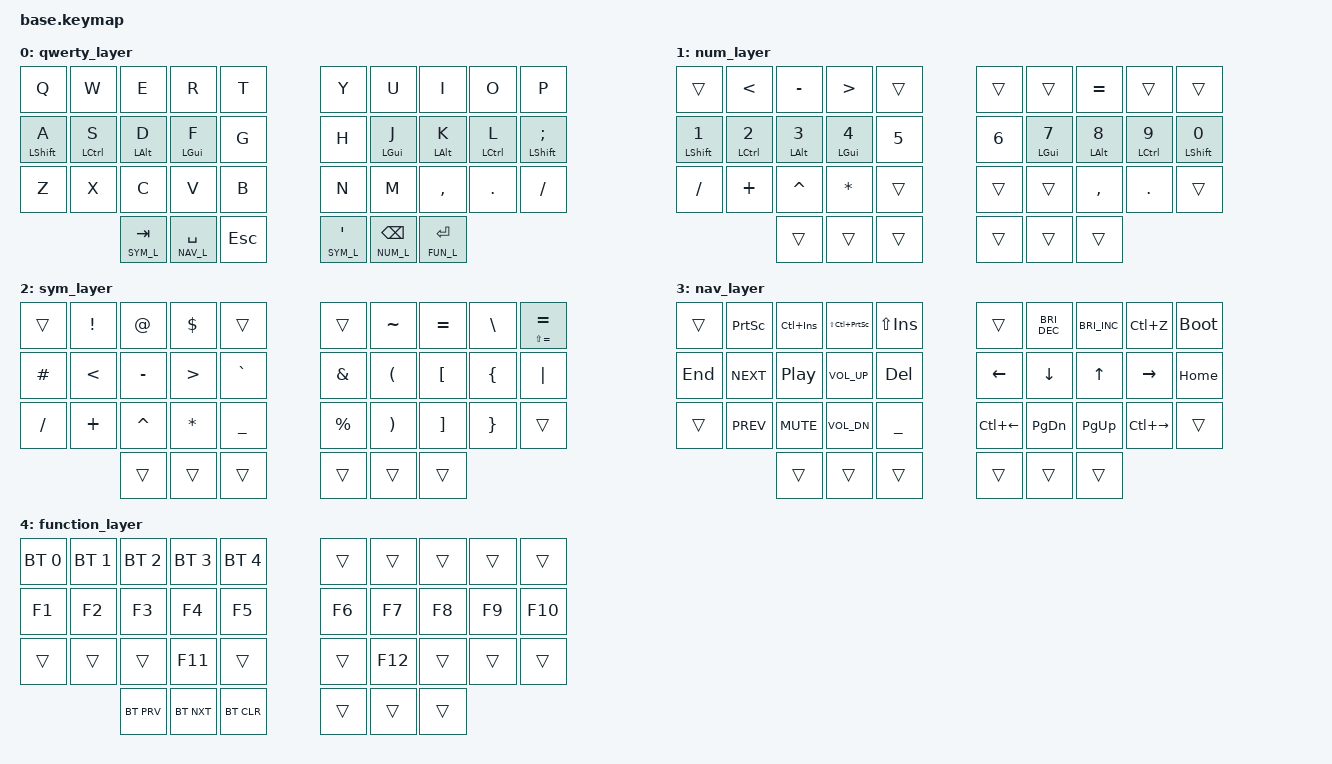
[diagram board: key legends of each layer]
/*
 * Copyright (c) 2021 The ZMK Contributors
 *
 * SPDX-License-Identifier: MIT
 */

#include <behaviors.dtsi>
#include <dt-bindings/zmk/bt.h>
#include <dt-bindings/zmk/keys.h>

&sk {
    release-after-ms = <750>;
    quick-release;
};

&caps_word {
    continue-list = <UNDERSCORE MINUS BSPC>;
    /delete-property/ ignore-modifiers;
};

#define QWERTY_L 0
#define NUM_L    1
#define SYM_L    2
#define NAV_L    3
#define FUN_L    4

#define MY_PSCRN LS(LC(PSCRN))
#define MY_COPY LC(INSERT)
#define MY_PASTE LS(INSERT)
#define VI_U LC(Z)
#define VI_W LC(RIGHT)
#define VI_B LC(LEFT)

/ {
    combos {
        compatible = "zmk,combos";

    // shortcut
    #define COMBO(NAME, BINDINGS, KEYPOS, TIMEOUT) \
          combo_##NAME { \
            timeout-ms = <TIMEOUT>; \
            bindings = <BINDINGS>; \
            key-positions = <KEYPOS>; \
          };

        /*                KEY POSITIONS

          ╭────────────────────╮ ╭────────────────────╮
          │  0   1   2   3   4 │ │  5   6   7   8   9 │
          │ 10  11  12  13  14 │ │ 15  16  17  18  19 │
          │ 20  21  22  23  24 │ │ 25  26  27  28  29 │
          ╰───────╮ 30  31  32 │ │ 33  34  35 ╭───────╯
                  ╰────────────╯ ╰────────────╯        */

        COMBO(caps_word_right, &caps_word, 26 27, 60)
        COMBO(caps_word_left, &caps_word, 22 23, 60)

        COMBO(colon, &kp COLON, 7 8, 60)
        COMBO(semicolon, &kp SEMI, 27 28, 60)
        COMBO(slash, &kp FSLH, 1 2, 60)

        COMBO(minus, &kp MINUS, 31 32, 100)
        COMBO(underscore, &kp UNDER, 33 34, 100)

        COMBO(equal, &kp EQUAL, 12 23, 100)
        COMBO(enter, &kp ENTER, 17 26, 60)

        COMBO(reset_left, &bootloader, 0 1 2 3, 100)
        // COMBO(reset_right, &bootloader, 6 7 8 9, 100)

        // A + BSPC = kontinuálny backspace (obíde hold-tap)
        COMBO(repeat_bspc, &kp BSPC, 10 34, 60)

        // Double Shift pre PyCharm Search Everywhere
        COMBO(dbl_shift_left, &double_shift, 3 4, 60)
        COMBO(dbl_shift_right, &double_shift, 5 6, 60)
    };

    macros {
        double_shift: double_shift {
            compatible = "zmk,behavior-macro";
            label = "DOUBLE_SHIFT";
            #binding-cells = <0>;
            wait-ms = <30>;
            tap-ms = <30>;
            bindings = <&kp LSHFT &kp LSHFT>;
        };
    };

    behaviors {
        lhm: left_hand_positional_hold_tap {
            compatible = "zmk,behavior-hold-tap";
            label = "LEFT_POSITIONAL_HOLD_TAP";
            #binding-cells = <2>;
            flavor = "tap-preferred";
            tapping-term-ms = <200>;
            quick-tap-ms = <125>;
            global-quick-tap;
            bindings = <&kp>, <&kp>;
            // hold-trigger-key-positions = <5 6 7 8 9 15 16 17 18 19 25 26 27 28 29 30 31 32 33 34 35>;
            hold-trigger-key-positions = <5 6 7 8 9 10 11 12 13 15 16 17 18 19 25 26 27 28 29 30 31 32 33 34 35>;
        };

        rhm: right_hand_positional_hold_tap {
            compatible = "zmk,behavior-hold-tap";
            label = "RIGHT_POSITIONAL_HOLD_TAP";
            #binding-cells = <2>;
            flavor = "tap-preferred";
            tapping-term-ms = <200>;
            quick-tap-ms = <125>;
            global-quick-tap;
            bindings = <&kp>, <&kp>;
            // hold-trigger-key-positions = <0 1 2 3 4 10 11 12 13 14 20 21 22 23 24 30 31 32 33 34 35>;
            hold-trigger-key-positions = <0 1 2 3 4 10 11 12 13 14 16 17 18 19 20 21 22 23 24 30 31 32 33 34 35>;
        };

        base_lt: base_layer_hold_tap {
            compatible = "zmk,behavior-hold-tap";
            label = "BASE_LAYER_HOLD_TAP";
            #binding-cells = <2>;
            flavor = "tap-preferred";
            tapping-term-ms = <200>;
            quick-tap-ms = <50>;
            global-quick-tap;
            bindings = <&mo>, <&kp>;
        };

        // Slovak accent: tap = ´ (dĺžeň), hold = ˇ (mäkčeň) - vyžaduje SK layout v OS
        sk_accent: slovak_accent_hold_tap {
            compatible = "zmk,behavior-hold-tap";
            label = "SLOVAK_ACCENT";
            #binding-cells = <2>;
            flavor = "tap-preferred";
            tapping-term-ms = <200>;
            quick-tap-ms = <125>;
            global-quick-tap;
            bindings = <&kp>, <&kp>;
        };

    };

	keymap {
		compatible = "zmk,keymap";

        // QWERTY
        qwerty_layer {
            bindings = <
        /*
          ╭────────────────────────────────────────────╮ ╭────────────────────────────────────────────╮
          │  Q       W       E       R       T         │ │  Y       U       I       O       P         │
          │  A/Sft   S/Ctl   D/Alt   F/Gui   G         │ │  H       J/Gui   K/Alt   L/Ctl   ;/Sft     │
          │  Z       X       C       V       B         │ │  N       M       ,       .       /         │
          ╰─────────────────╮ TAB    SPC     ESC       │ │  '       BSPC    ENT    ╭──────────────────╯
                            ╰─────────────────────────╯ ╰─────────────────────────╯
        */
                   &kp Q        &kp W         &kp E               &kp R              &kp T       &kp Y               &kp U               &kp I                    &kp O         &kp P
                   &lhm LSHFT A &lhm LCTRL S  &lhm LALT D         &lhm LGUI F        &kp G       &kp H               &rhm LGUI J         &rhm LALT K              &rhm LCTRL L  &rhm LSHFT SEMI
                   &kp Z        &kp X         &kp C               &kp V              &kp B       &kp N               &kp M               &kp COMMA                &kp DOT       &kp FSLH
                 /*&            &*/           &base_lt SYM_L TAB  &base_lt NAV_L SPC &kp ESC     &base_lt SYM_L APOS  &base_lt NUM_L BSPC  &base_lt FUN_L RET   /* &             &*/
            >;
        };


        // NUM - Aktivácia: Drž BSPC(pos 34)
		num_layer {
			bindings = <
        /*
          ╭────────────────────────────────────────────╮ ╭────────────────────────────────────────────╮
          │  -       <       -       >       -         │ │  -       -       =       -       -         │
          │  1/Sft   2/Ctl   3/Alt   4/Gui   5         │ │  6       7/Gui   8/Alt   9/Ctl   0/Sft     │
          │  /       +       ^       *       -         │ │  -       -       ,       .       -         │
          ╰─────────────────╮ ---    ---     ---       │ │  ---     ---     ---    ╭──────────────────╯
                            ╰─────────────────────────╯ ╰─────────────────────────╯
        */
                   &trans       &kp LT        &kp MINUS     &kp GT             &trans             &trans              &trans           &kp EQUAL                &trans        &trans
                   &lhm LSHFT N1 &lhm LCTRL N2 &lhm LALT N3 &lhm LGUI N4       &kp N5             &kp N6              &rhm LGUI N7     &rhm LALT N8             &rhm LCTRL N9 &rhm LSHFT N0
                   &kp FSLH     &kp PLUS      &kp CARET     &kp STAR           &trans             &trans              &trans           &kp COMMA                &kp DOT       &trans
				 /*&            &*/           &trans        &trans             &trans             &trans              &trans           &trans    /*             &             &*/
			>;
		};

        // SYM - Aktivácia: Drž TAB (pos 31) alebo " (pos 33)
		sym_layer {
			bindings = <
        /*
          ╭────────────────────────────────────────────╮ ╭────────────────────────────────────────────╮
          │  -       !       @       $       -         │ │  -       ~       =       \       ´/ˇ       │
          │  #       <       -       >       `         │ │  &       (       [       {       |         │
          │  /       +       ^       *       _         │ │  %       )       ]       }       -         │
          ╰─────────────────╮ ---    ---     ---       │ │  ---     ---     ---    ╭──────────────────╯
                            ╰──────────────────-───────╯ ╰─────────────────────────╯
        */
                   &trans       &kp EXCL      &kp AT        &kp DLLR           &trans             &trans              &kp TILDE        &kp EQUAL                &kp BSLH      &sk_accent LS(EQUAL) EQUAL
                   &kp HASH     &kp LT        &kp MINUS     &kp GT             &kp GRAVE          &kp AMPS            &kp LPAR         &kp LBKT                 &kp LBRC      &kp PIPE
                   &kp FSLH     &kp PLUS      &kp CARET     &kp STAR           &kp UNDER          &kp PRCNT           &kp RPAR         &kp RBKT                 &kp RBRC      &trans
				 /*&            &*/           &trans        &trans             &trans             &trans              &trans           &trans    /*             &             &*/
			>;
		};

        // NAV - Aktivácia: Drž SPC (pos 30)
		nav_layer {
			bindings = <
        /*
          ╭────────────────────────────────────────────╮ ╭────────────────────────────────────────────╮
          │  -       PSCR    COPY    PSCR+   PASTE     │ │  -       BRI-    BRI+    UNDO    BOOT      │
          │  END     NEXT    PLAY    VOL+    DEL       │ │  ←       ↓       ↑       →       HOME      │
          │  -       PREV    MUTE    VOL-    _         │ │  W←      PGDN    PGUP    W→      -         │
          ╰─────────────────╮ ---    ---     ---       │ │  ---     ---     ---    ╭──────────────────╯
                            ╰────────────────-─────────╯ ╰─────────────────────────╯
        */
                   &trans       &kp PSCRN     &kp MY_COPY   &kp MY_PSCRN       &kp MY_PASTE       &trans              &kp C_BRI_DEC    &kp C_BRI_INC            &kp VI_U      &bootloader
                   &kp END      &kp C_NEXT    &kp C_PP      &kp C_VOL_UP       &kp DEL            &kp LEFT            &kp DOWN         &kp UP                   &kp RIGHT     &kp HOME
                   &trans       &kp C_PREV    &kp C_MUTE    &kp C_VOL_DN       &kp UNDER          &kp VI_B            &kp PG_DN        &kp PG_UP                &kp VI_W      &trans
				 /*&            &*/           &trans        &trans             &trans             &trans              &trans           &trans    /*             &             &*/
			>;
		};

        // FUN - Aktivácia: Drž ENT (pos 35)
		function_layer {
			bindings = <
        /*
          ╭────────────────────────────────────────────╮ ╭────────────────────────────────────────────╮
          │  BT0     BT1     BT2     BT3     BT4       │ │  -       -       -       -       -         │
          │  F1      F2      F3      F4      F5        │ │  F6      F7      F8      F9      F10       │
          │  -       -       -       F11     -         │ │  -       F12     -       -       -         │
          ╰─────────────────╮ BT<    BT>     BT_CLR    │ │  ---     ---     ---    ╭──────────────────╯
                            ╰────────────────-─────────╯ ╰─────────────────────────╯
        */
                   &bt BT_SEL 0 &bt BT_SEL 1  &bt BT_SEL 2  &bt BT_SEL 3       &bt BT_SEL 4       &trans              &trans           &trans                   &trans        &trans
                   &kp F1       &kp F2        &kp F3        &kp F4             &kp F5             &kp F6              &kp F7           &kp F8                   &kp F9        &kp F10
                   &trans       &trans        &trans        &kp F11            &trans             &trans              &kp F12          &trans                   &trans        &trans
				 /*&            &*/           &bt BT_PRV    &bt BT_NXT         &bt BT_CLR         &trans              &trans           &trans /*                &             &*/
			>;
		};
	};
};
